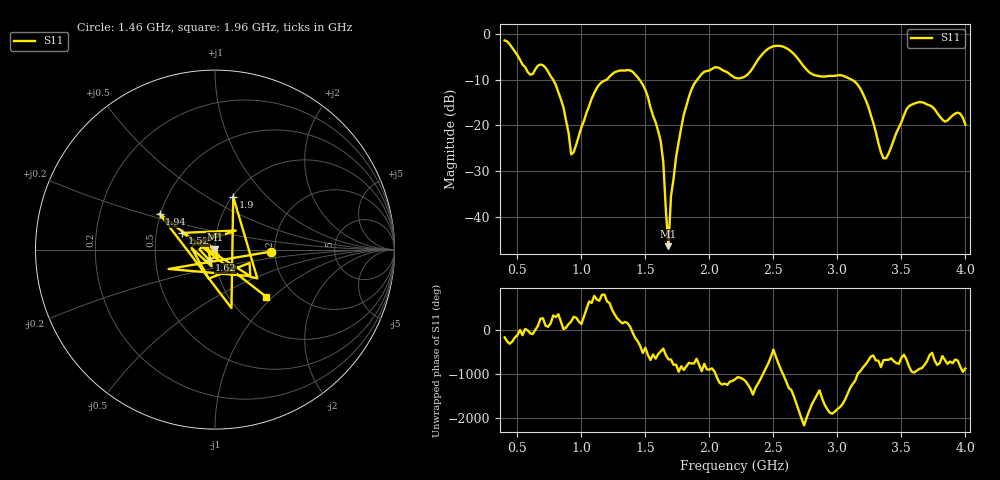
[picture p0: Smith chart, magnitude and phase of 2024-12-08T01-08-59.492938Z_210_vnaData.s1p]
!Created with skrf (http://scikit-rf.org).
# Hz S RI R 50.0
!freq ReS11 ImS11
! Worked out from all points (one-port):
!   181 points, 400 MHz to 4 GHz, reference 50 ohm
!   lowest |S11| = -46.5 dB at 1.68 GHz (marker M1), VSWR 1.01, Z = 50.2 + j0.406 ohm
!   |S11| at or under -10 dB: 780.5 MHz to 1.193 GHz (412.6 MHz wide, 41.8 % of centre); 1.455 GHz to 1.904 GHz (448.5 MHz wide, 26.7 % of centre); 3.116 GHz to end of sweep
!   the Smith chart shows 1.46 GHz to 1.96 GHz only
!   S11 on the Smith chart (normalised r, x): 1.46 GHz: 1.90, -0.05; 1.52 GHz: 0.68, +0.13; 1.62 GHz: 0.93, -0.11; 1.9 GHz: 1.01, +0.66; 1.94 GHz: 0.49, +0.23; 1.96 GHz: 1.47, -0.91
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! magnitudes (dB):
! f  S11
! 400 MHz  -1.3
! 600 MHz  -8.8
! 720 MHz  -7.3
! 860 MHz  -16.1
! 920 MHz  -26.4
! 1.12 GHz  -11.8
! 1.3 GHz  -7.9
! 1.46 GHz  -10.2
! 1.52 GHz  -13.8
! 1.62 GHz  -23.5
! 1.64 GHz  -28.1
! 1.68 GHz  -46.5
! 1.7 GHz  -35.5
! 1.76 GHz  -23.7
! 1.84 GHz  -13.7
! 1.9 GHz  -10.1
! 1.94 GHz  -8.7
! 1.96 GHz  -8.2
! 2.2 GHz  -9.5
! 2.48 GHz  -2.8
! 2.66 GHz  -4.3
! 2.82 GHz  -8.9
! 3.1 GHz  -9.7
! 3.22 GHz  -14.3
! 3.36 GHz  -27.2
! 3.56 GHz  -15.7
! 3.94 GHz  -17.2
! 4 GHz  -19.8
